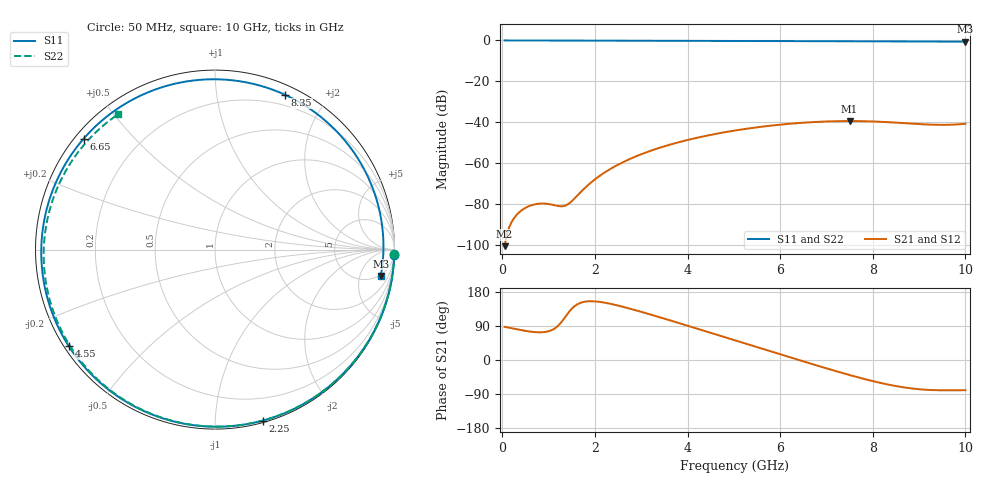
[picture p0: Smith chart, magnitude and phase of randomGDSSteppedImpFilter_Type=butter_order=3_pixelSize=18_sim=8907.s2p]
! freq	dB(S11)	phase(S11)	dB(S12)	phase(S12)
!  dB(S21)	phase(S21)	dB(S22)	phase(S22)
!S-par simulation data
#  GHz  S  DB  R 50
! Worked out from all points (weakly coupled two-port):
!   200 points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, 50 MHz to 10 GHz, reference 50 ohm
!   highest |S21| = -39.40 dB at 7.5 GHz (marker M1); lowest = -100.6 dB at 50 MHz (marker M2)
!   lowest |S11| = -0.6 dB at 10 GHz (marker M3), VSWR 29.89, Z = 230 - j538 ohm
!   |S11| at or under -10 dB: nowhere
!   |S22| runs from -0.7 to 0.0 dB; largest |S21 - S12| = 0
!   S11 on the Smith chart (normalised r, x): 50 MHz: 1, -66; 2.25 GHz: 0.01, -1.32; 4.55 GHz: 0.01, -0.30; 6.65 GHz: 0.02, +0.37; 8.35 GHz: 0.09, +1.55; 10 GHz: 5, -11
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0.05  -0.00 -1.7  -100.56 87.4  -100.56 87.4  -0.01 -1.3
0.7  -0.03 -23.7  -80.13 73.6  -80.13 73.6  -0.02 -17.8
1.4  -0.06 -46.9  -80.32 120.3  -80.32 120.3  -0.04 -35.3
1.75  -0.07 -58.3  -72.85 153.1  -72.85 153.1  -0.06 -43.9
2.25  -0.09 -74.4  -63.97 150.4  -63.97 150.4  -0.07 -55.9
2.75  -0.12 -90.2  -57.99 135.7  -57.99 135.7  -0.09 -67.7
3.4  -0.14 -110.5  -52.45 112.8  -52.45 112.8  -0.11 -82.6
3.95  -0.17 -127.6  -48.94 92.4  -48.94 92.4  -0.13 -94.8
4.55  -0.21 -146.5  -45.93 69.9  -45.93 69.9  -0.16 -107.9
5.05  -0.24 -162.7  -43.93 51.0  -43.93 51.0  -0.18 -118.5
5.85  -0.31 169.9  -41.52 20.7  -41.52 20.7  -0.23 -135.4
6.25  -0.34 155.2  -40.64 5.7  -40.64 5.7  -0.26 -143.9
6.65  -0.37 139.8  -39.99 -9.2  -39.99 -9.2  -0.29 -152.4
6.7  -0.38 137.8  -39.93 -11.1  -39.93 -11.1  -0.29 -153.5
7.1  -0.41 121.5  -39.54 -25.7  -39.54 -25.7  -0.33 -162.2
7.5  -0.44 104.3  -39.40 -39.7  -39.40 -39.7  -0.37 -171.0
7.95  -0.46 84.1  -39.56 -54.2  -39.56 -54.2  -0.41 178.8
8.35  -0.48 65.6  -39.96 -65.3  -39.96 -65.3  -0.46 169.3
8.8  -0.49 44.6  -40.60 -74.5  -40.60 -74.5  -0.51 158.3
9.2  -0.50 26.1  -41.11 -78.9  -41.11 -78.9  -0.56 147.9
9.6  -0.53 8.2  -41.24 -80.0  -41.24 -80.0  -0.61 137.1
10  -0.58 -9.0  -40.72 -79.7  -40.72 -79.7  -0.66 125.7
